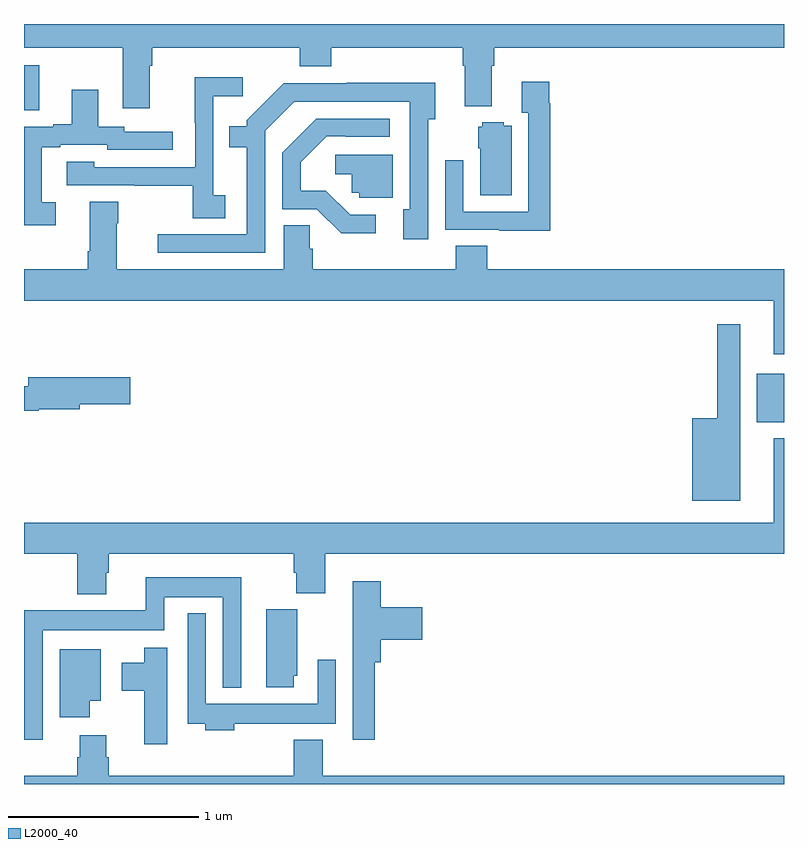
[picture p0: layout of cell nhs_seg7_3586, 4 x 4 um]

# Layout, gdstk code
import gdstk
lib = gdstk.Library(unit=1e-6, precision=1e-09)
def R(c, l, rs):  # rectangles x0, y0, x1, y1
    for r in rs: c.add(gdstk.rectangle(r[:2], r[2:], *l))
def P(c, l, *ps):  # polygons
    for p in ps: c.add(gdstk.Polygon(p, *l))
L2000_40 = (2000, 40)

nhs_seg7_3586 = lib.new_cell('nhs_seg7_3586')
R(nhs_seg7_3586, L2000_40, [(342.857,1071.905,343,1072.159), (339,1073.545,339.079,1073.784)])
P(nhs_seg7_3586, L2000_40, [(339.661,1073.78),(339.674,1073.78),(339.674,1073.876),(340.451,1073.876),(340.451,1073.777),(340.616,1073.777),(340.616,1073.876),(341.309,1073.876),(341.309,1073.78),(341.321,1073.78),(341.321,1073.567),(341.461,1073.567),(341.461,1073.78),(341.474,1073.78),(341.474,1073.876),(343,1073.876),(343,1074),(339,1074),(339,1073.876),(339.521,1073.876),(339.521,1073.556),(339.661,1073.556)],
  [(340.06,1073.1),(339.996,1073.1),(339.996,1073.621),(340.15,1073.621),(340.15,1073.719),(339.898,1073.719),(339.898,1073.48),(339.9,1073.48),(339.9,1073.247),(339.369,1073.247),(339.369,1073.275),(339.225,1073.275),(339.225,1073.151),(339.583,1073.151),(339.583,1073.149),(339.888,1073.149),(339.888,1072.978),(340.06,1072.978)],
  [(341.771,1073.582),(341.764,1073.582),(341.764,1073.695),(341.621,1073.695),(341.621,1073.534),(341.655,1073.534),(341.655,1073.013),(341.313,1073.013),(341.313,1073.284),(341.217,1073.284),(341.217,1072.917),(341.501,1072.917),(341.501,1072.913),(341.771,1072.913)],
  [(340.269,1073.439),(340.422,1073.592),(341.031,1073.592),(341.031,1073.026),(340.997,1073.026),(340.997,1072.866),(341.127,1072.866),(341.127,1073.498),(341.164,1073.498),(341.164,1073.69),(340.699,1073.69),(340.699,1073.688),(340.368,1073.688),(340.173,1073.493),(340.173,1073.461),(340.081,1073.461),(340.081,1073.352),(340.172,1073.352),(340.172,1072.893),(339.705,1072.893),(339.705,1072.797),(340.269,1072.797)],
  [(339.166,1073.061),(339.094,1073.061),(339.094,1073.352),(339.19,1073.352),(339.19,1073.364),(339.438,1073.364),(339.438,1073.337),(339.784,1073.337),(339.784,1073.433),(339.528,1073.433),(339.528,1073.46),(339.391,1073.46),(339.391,1073.653),(339.251,1073.653),(339.251,1073.473),(339.155,1073.473),(339.155,1073.46),(339,1073.46),(339,1072.941),(339.166,1072.941)],
  [(340.852,1072.995),(340.716,1072.995),(340.589,1073.122),(340.456,1073.122),(340.456,1073.272),(340.593,1073.409),(340.693,1073.409),(340.693,1073.406),(340.924,1073.406),(340.924,1073.502),(340.538,1073.502),(340.359,1073.323),(340.359,1073.025),(340.542,1073.025),(340.67,1072.898),(340.852,1072.898)],
  [(341.566,1073.464),(341.526,1073.464),(341.526,1073.482),(341.412,1073.482),(341.412,1073.46),(341.39,1073.46),(341.39,1073.346),(341.402,1073.346),(341.402,1073.098),(341.566,1073.098)],
  [(340.942,1073.313),(340.638,1073.313),(340.638,1073.21),(340.725,1073.21),(340.725,1073.112),(340.764,1073.112),(340.764,1073.085),(340.942,1073.085)],
  [(343,1072.708),(341.438,1072.708),(341.438,1072.832),(341.273,1072.832),(341.273,1072.708),(340.52,1072.708),(340.52,1072.818),(340.505,1072.818),(340.505,1072.94),(340.367,1072.94),(340.367,1072.708),(339.487,1072.708),(339.487,1072.952),(339.495,1072.952),(339.495,1073.065),(339.347,1073.065),(339.347,1072.804),(339.335,1072.804),(339.335,1072.708),(339,1072.708),(339,1072.544),(342.947,1072.544),(342.947,1072.263),(343,1072.263)],
  [(342.769,1072.42),(342.648,1072.42),(342.648,1071.925),(342.518,1071.925),(342.518,1071.491),(342.769,1071.491)],
  [(339.078,1071.972),(339.294,1071.972),(339.294,1071.998),(339.559,1071.998),(339.559,1072.14),(339.023,1072.14),(339.023,1072.093),(339,1072.093),(339,1071.964),(339.078,1071.964)],
  [(339.433,1071.111),(339.446,1071.111),(339.446,1071.212),(340.421,1071.212),(340.421,1071.113),(340.433,1071.113),(340.433,1071.004),(340.586,1071.004),(340.586,1071.212),(343,1071.212),(343,1071.82),(342.947,1071.82),(342.947,1071.376),(339,1071.376),(339,1071.212),(339.281,1071.212),(339.281,1070.999),(339.433,1070.999)],
  [(339.099,1070.81),(339.738,1070.81),(339.738,1070.984),(340.047,1070.984),(340.047,1070.507),(340.144,1070.507),(340.144,1071.088),(339.641,1071.088),(339.641,1070.914),(339,1070.914),(339,1070.232),(339.099,1070.232)],
  [(340.847,1070.642),(340.877,1070.642),(340.877,1070.759),(341.095,1070.759),(341.095,1070.929),(340.877,1070.929),(340.877,1071.067),(340.73,1071.067),(340.73,1070.775),(340.731,1070.775),(340.731,1070.232),(340.847,1070.232)],
  [(340.42,1070.571),(340.438,1070.571),(340.438,1070.919),(340.274,1070.919),(340.274,1070.508),(340.42,1070.508)],
  [(340.106,1070.316),(340.337,1070.316),(340.337,1070.318),(340.641,1070.318),(340.641,1070.653),(340.545,1070.653),(340.545,1070.422),(339.957,1070.422),(339.957,1070.899),(339.861,1070.899),(339.861,1070.316),(339.953,1070.316),(339.953,1070.282),(340.106,1070.282)],
  [(339.754,1070.716),(339.632,1070.716),(339.632,1070.638),(339.515,1070.638),(339.515,1070.491),(339.632,1070.491),(339.632,1070.208),(339.754,1070.208)],
  [(339.346,1070.438),(339.403,1070.438),(339.403,1070.71),(339.188,1070.71),(339.188,1070.352),(339.346,1070.352)],
  [(339.446,1070.142),(339.433,1070.142),(339.433,1070.257),(339.293,1070.257),(339.293,1070.142),(339.281,1070.142),(339.281,1070.044),(339,1070.044),(339,1070),(343,1070),(343,1070.044),(340.573,1070.044),(340.573,1070.233),(340.421,1070.233),(340.421,1070.044),(339.446,1070.044)])

lib.write_gds('nhs_seg7_3586.gds')
